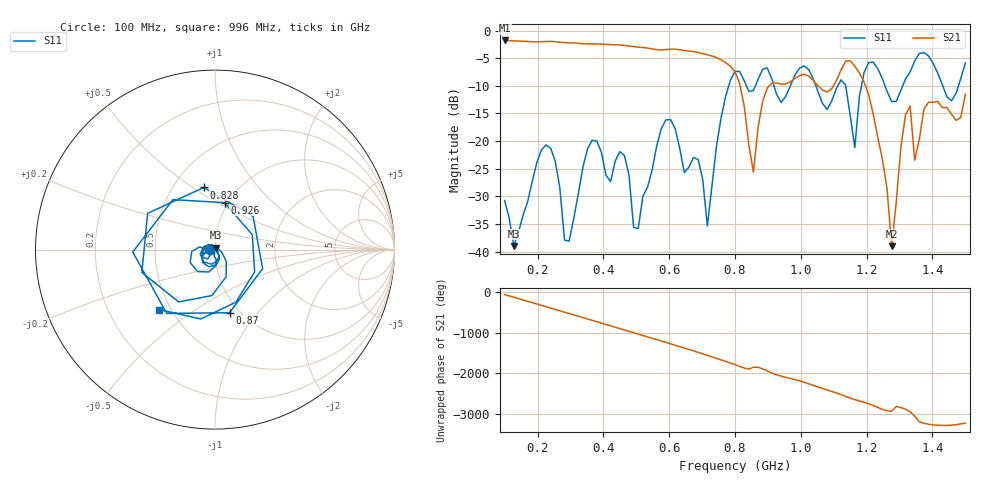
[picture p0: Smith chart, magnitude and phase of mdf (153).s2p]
! NanoVNA-App
! Date: 2025-09-25 15:39:37
! Start: 100MHz Stop: 1,5GHz Points: 101
! S-Parameter data: F S11 S21 S12 S22
# Hz S RI R 50
!  Frequency  S11_Real  S11_Imag  S21_Real  S21_Imag  S12_Real  S12_Imag  S22_Real  S22_Imag
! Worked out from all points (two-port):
!   101 points, 100 MHz to 1.5 GHz, reference 50 ohm
!   highest |S21| = -1.80 dB at 100 MHz (marker M1); lowest = -39.0 dB at 1.276 GHz (marker M2)
!   |S21| within 3 dB of the highest: start of sweep to 739.3 MHz
!   lowest |S11| = -39.0 dB at 128 MHz (marker M3), VSWR 1.02, Z = 50.3 + j1.08 ohm
!   |S11| at or under -10 dB: start of sweep to 781 MHz; 918.3 MHz to 968.2 MHz (49.84 MHz wide, 5.28 % of centre); 1.045 GHz to 1.112 GHz (67.03 MHz wide, 6.21 % of centre) (the widest 3 of 7)
!   S12 and S22 are empty: the file has one direction only
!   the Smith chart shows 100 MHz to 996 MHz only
!   S11 on the Smith chart (normalised r, x): 100 MHz: 0.94, -0.01; 828 MHz: 0.70, +0.55; 870 MHz: 0.90, -0.73; 926 MHz: 0.96, +0.54; 996 MHz: 0.43, -0.36
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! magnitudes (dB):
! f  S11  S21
! 100 MHz  -30.8  -1.8
! 128 MHz  -39.0  -1.9
! 212 MHz  -21.6  -2.0
! 282 MHz  -37.9  -2.2
! 338 MHz  -24.7  -2.4
! 464 MHz  -22.6  -2.7
! 506 MHz  -35.9  -3.0
! 576 MHz  -17.8  -3.5
! 716 MHz  -35.4  -4.4
! 800 MHz  -7.4  -7.5
! 828 MHz  -9.1  -13.7
! 856 MHz  -10.9  -25.6
! 870 MHz  -8.9  -17.6
! 926 MHz  -11.5  -9.5
! 996 MHz  -6.8  -8.2
! 1.038 GHz  -8.8  -9.1
! 1.164 GHz  -21.2  -6.4
! 1.192 GHz  -7.6  -9.3
! 1.276 GHz  -12.9  -39.0
! 1.318 GHz  -8.8  -15.3
! 1.346 GHz  -5.5  -23.5
! 1.5 GHz  -5.9  -11.5
